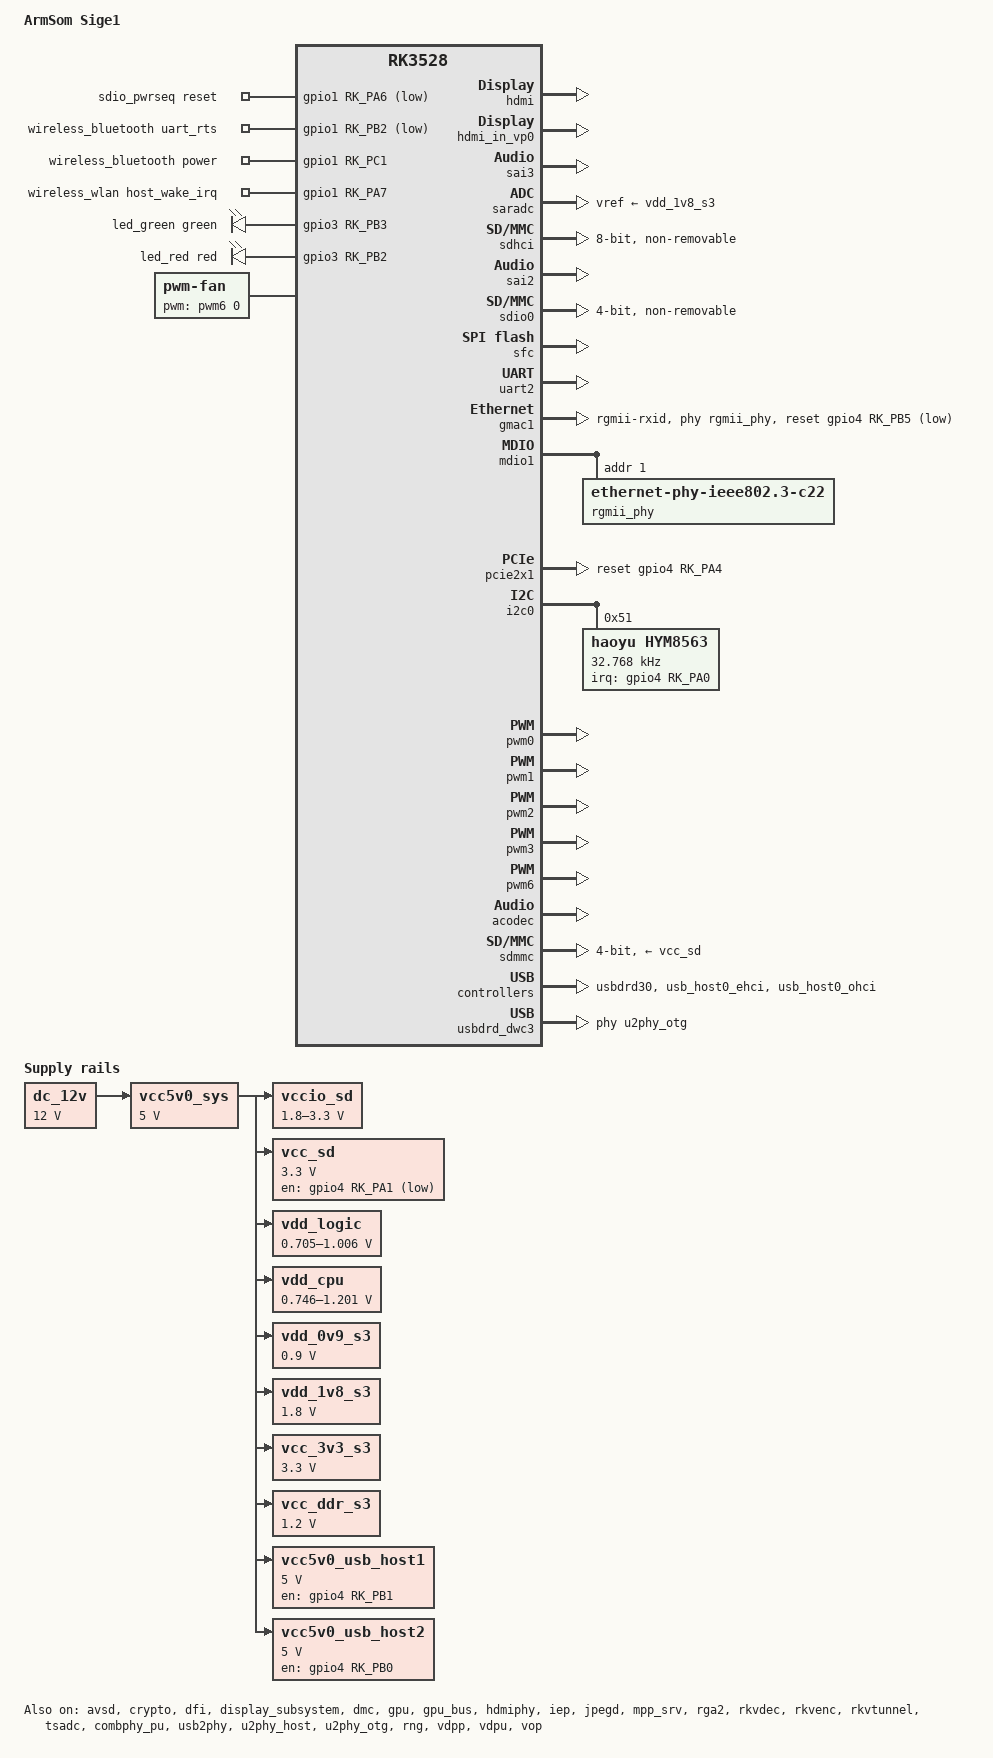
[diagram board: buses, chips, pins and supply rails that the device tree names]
// SPDX-License-Identifier: (GPL-2.0+ OR MIT)
/*
 * Copyright (c) 2022 Rockchip Electronics Co., Ltd.
 *
 */

/dts-v1/;

#include <dt-bindings/gpio/gpio.h>
#include <dt-bindings/leds/common.h>
#include <dt-bindings/input/rk-input.h>
#include <dt-bindings/pinctrl/rockchip.h>
#include "rk3528.dtsi"

/ {
	model = "ArmSom Sige1";
	compatible = "armsom,sige1", "rockchip,rk3528";

	aliases {
		ethernet0 = &gmac1;
		mmc0 = &sdmmc;
		mmc1 = &sdhci;
		mmc2 = &sdio0;
	};

	
	acodec_sound: acodec-sound {
		status = "okay";
		compatible = "simple-audio-card";
		simple-audio-card,name = "rk3528-acodec";
		simple-audio-card,format = "i2s";
		simple-audio-card,mclk-fs = <256>;
		simple-audio-card,cpu {
			sound-dai = <&sai2>;
		};
		simple-audio-card,codec {
			sound-dai = <&acodec>;
		};
	};
	
	fiq-debugger {
		compatible = "rockchip,fiq-debugger";
		rockchip,serial-id = <0>;
		rockchip,wake-irq = <0>;
		/* If enable uart uses irq instead of fiq */
		rockchip,irq-mode-enable = <1>;
		rockchip,baudrate = <1500000>;  /* Only 115200 and 1500000 */
		interrupts = <GIC_SPI 186 IRQ_TYPE_LEVEL_HIGH>;
		pinctrl-names = "default";
		pinctrl-0 = <&uart0m0_xfer>;
		status = "okay";
	};

	firmware {
		optee {
			compatible = "linaro,optee-tz";
			method = "smc";
		};
	};

	dc_12v: dc-12v {
		compatible = "regulator-fixed";
		regulator-name = "dc_12v";
		regulator-always-on;
		regulator-boot-on;
		regulator-min-microvolt = <12000000>;
		regulator-max-microvolt = <12000000>;
	};
	
	vcc5v0_sys: vcc5v0-sys {
		compatible = "regulator-fixed";
		regulator-name = "vcc5v0_sys";
		regulator-always-on;
		regulator-boot-on;
		regulator-min-microvolt = <5000000>;
		regulator-max-microvolt = <5000000>;
		vin-supply = <&dc_12v>;
	};

	/omit-if-no-ref/
	vccio_sd: vccio-sd {
		compatible = "regulator-gpio";
		regulator-name = "vccio_sd";
		regulator-min-microvolt = <1800000>;
		regulator-max-microvolt = <3300000>;
		gpios = <&gpio4 RK_PC2 GPIO_ACTIVE_HIGH>;
		vin-supply = <&vcc5v0_sys>;
		states = <1800000 0x0
			  3300000 0x1>;
	};

	/omit-if-no-ref/
	vcc_sd: vcc-sd {
		compatible = "regulator-fixed";
		gpio = <&gpio4 RK_PA1 GPIO_ACTIVE_LOW>;
		regulator-name = "vcc_sd";
		regulator-min-microvolt = <3300000>;
		regulator-max-microvolt = <3300000>;
		vin-supply = <&vcc5v0_sys>;
	};

	vdd_logic: vdd-logic {
		compatible = "pwm-regulator";
		pwms = <&pwm2 0 5000 1>;
		regulator-name = "vdd_logic";
		regulator-min-microvolt = <705000>;
		regulator-max-microvolt = <1006000>;
		regulator-init-microvolt = <900000>;
		regulator-always-on;
		regulator-boot-on;
		regulator-settling-time-up-us = <250>;
		pwm-supply = <&vcc5v0_sys>;
		status = "okay";
	};

	vdd_cpu: vdd-cpu {
		compatible = "pwm-regulator";
		pwms = <&pwm3 0 5000 1>;
		regulator-name = "vdd_cpu";
		regulator-min-microvolt = <746000>;
		regulator-max-microvolt = <1201000>;
		regulator-init-microvolt = <953000>;
		regulator-always-on;
		regulator-boot-on;
		regulator-settling-time-up-us = <250>;
		pwm-supply = <&vcc5v0_sys>;
		status = "okay";
	};

	vdd_0v9_s3: vdd-0v9-s3 {
		compatible = "regulator-fixed";
		regulator-name = "vdd_0v9_s3";
		regulator-always-on;
		regulator-boot-on;
		regulator-min-microvolt = <900000>;
		regulator-max-microvolt = <900000>;
		vin-supply = <&vcc5v0_sys>;
	};

	vdd_1v8_s3: vdd-1v8-s3 {
		compatible = "regulator-fixed";
		regulator-name = "vdd_1v8_s3";
		regulator-always-on;
		regulator-boot-on;
		regulator-min-microvolt = <1800000>;
		regulator-max-microvolt = <1800000>;
		vin-supply = <&vcc5v0_sys>;
	};

	vcc_3v3_s3: vcc-3v3-s3 {
		compatible = "regulator-fixed";
		regulator-name = "vcc_3v3_s3";
		regulator-always-on;
		regulator-boot-on;
		regulator-min-microvolt = <3300000>;
		regulator-max-microvolt = <3300000>;
		vin-supply = <&vcc5v0_sys>;
	};

	vcc_ddr_s3: vcc-ddr-s3 {
		compatible = "regulator-fixed";
		regulator-name = "vcc_ddr_s3";
		regulator-always-on;
		regulator-boot-on;
		regulator-min-microvolt = <1200000>;
		regulator-max-microvolt = <1200000>;
		vin-supply = <&vcc5v0_sys>;
	};

	hdmi_sound: hdmi-sound {
		compatible = "rockchip,hdmi";
		rockchip,mclk-fs = <128>;
		rockchip,card-name = "rockchip,hdmi";
		rockchip,cpu = <&sai3>;
		rockchip,codec = <&hdmi>;
		rockchip,jack-det;
	};

	pdmics: dummy-codec {
		status = "disabled";
		compatible = "rockchip,dummy-codec";
		#sound-dai-cells = <0>;
	};

	pdm_mic_array: pdm-mic-array {
		status = "disabled";
		compatible = "simple-audio-card";
		simple-audio-card,name = "rockchip,pdm-mic-array";
		simple-audio-card,cpu {
			sound-dai = <&pdm>;
		};
		simple-audio-card,codec {
			sound-dai = <&pdmics>;
		};
	};

	reserved_memory: reserved-memory {
		#address-cells = <2>;
		#size-cells = <2>;
		ranges;

		drm_logo: drm-logo@00000000 {
			compatible = "rockchip,drm-logo";
			reg = <0x0 0x0 0x0 0x0>;
		};

		drm_cubic_lut: drm-cubic-lut@00000000 {
			compatible = "rockchip,drm-cubic-lut";
			reg = <0x0 0x0 0x0 0x0>;
		};

		ramoops: ramoops@110000 {
			compatible = "ramoops";
			/* 0x110000 to 0x1f0000 is for ramoops */
			reg = <0x0 0x110000 0x0 0xe0000>;
			boot-log-size = <0x8000>;	/* do not change */
			boot-log-count = <0x1>;		/* do not change */
			console-size = <0x80000>;
			pmsg-size = <0x30000>;
			ftrace-size = <0x00000>;
			record-size = <0x14000>;
		};
	};
	
	vcc5v0_usb_host1: vcc5v0-usb-host1 {
		compatible = "regulator-fixed";
		regulator-name = "vcc5v0_usb_host1";
		regulator-boot-on;
		regulator-always-on;
		regulator-min-microvolt = <5000000>;
		regulator-max-microvolt = <5000000>;
		enable-active-high;
		gpio = <&gpio4 RK_PB1 GPIO_ACTIVE_HIGH>;
		vin-supply = <&vcc5v0_sys>;
		pinctrl-names = "default";
		pinctrl-0 = <&usb_host1_pwren>;
	};

	vcc5v0_usb_host2: vcc5v0-usb-host2 {
		compatible = "regulator-fixed";
		regulator-name = "vcc5v0_usb_host2";
		regulator-boot-on;
		regulator-always-on;
		regulator-min-microvolt = <5000000>;
		regulator-max-microvolt = <5000000>;
		enable-active-high;
		gpio = <&gpio4 RK_PB0 GPIO_ACTIVE_HIGH>;
		vin-supply = <&vcc5v0_sys>;
		pinctrl-names = "default";
		pinctrl-0 = <&usb_host2_pwren>;
	};

	sdio_pwrseq: sdio-pwrseq {
		compatible = "mmc-pwrseq-simple";
		pinctrl-names = "default";
		pinctrl-0 = <&wifi_enable_h &clkm0_32k_out>;
		reset-gpios = <&gpio1 RK_PA6 GPIO_ACTIVE_LOW>;
	};

	wireless_bluetooth: wireless-bluetooth {
		compatible = "bluetooth-platdata";
		//wifi-bt-power-toggle;
		uart_rts_gpios = <&gpio1 RK_PB2 GPIO_ACTIVE_LOW>;
		pinctrl-names = "default", "rts_gpio";
		pinctrl-0 = <&uart2m1_rtsn>;
		pinctrl-1 = <&uart2m1_rts_gpio>;
		BT,power_gpio = <&gpio1 RK_PC1 GPIO_ACTIVE_HIGH>;
		//BT,reset_gpio    = <&gpio3 RK_PC2 GPIO_ACTIVE_HIGH>;
		//BT,wake_host_irq = <&gpio3 RK_PC1 GPIO_ACTIVE_HIGH>;
		status = "okay";
	};

	wireless_wlan: wireless-wlan {
		compatible = "wlan-platdata";
		rockchip,grf = <&grf>;
		wifi_chip_type = "rtl8852bs";
		pinctrl-names = "default";
		pinctrl-0 = <&wifi_host_wake_irq>;
		WIFI,host_wake_irq = <&gpio1 RK_PA7 GPIO_ACTIVE_HIGH>;
		status = "okay";
	};

	leds {
		compatible = "gpio-leds";

		led_green: led-0 {
			color = <LED_COLOR_ID_GREEN>;
			function = LED_FUNCTION_STATUS;
			linux,default-trigger = "heartbeat";
			gpios = <&gpio3 RK_PB3 GPIO_ACTIVE_HIGH>;
		};

		led_red: led-1 {
			color = <LED_COLOR_ID_RED>;
			function = LED_FUNCTION_STATUS;
			gpios = <&gpio3 RK_PB2 GPIO_ACTIVE_HIGH>;
			linux,default-trigger = "none";
		};
	};

	fan: pwm-fan {
		compatible = "pwm-fan";
		#cooling-cells = <2>;
		pwms = <&pwm6 0 50000 0>;
		cooling-levels = <0 50 100 150 200 255>;
		rockchip,temp-trips = <
			50000	1
			55000	2
			60000	3
			65000	4
			70000	5
		>;
	};
};

&avsd {
	status = "okay";
};

&cpu0 {
	cpu-supply = <&vdd_cpu>;
};

&crypto {
	status = "okay";
};

&dfi {
	status = "okay";
};

&display_subsystem {
	status = "okay";
};

&dmc {
	center-supply = <&vdd_logic>;
	status = "okay";
};

&gpu {
	mali-supply = <&vdd_logic>;
	status = "okay";
};

&gpu_bus {
	bus-supply = <&vdd_logic>;
	status = "okay";
};

&hdmi {
	status = "okay";
};

&hdmi_in_vp0 {
	status = "okay";
};

&hdmiphy {
	status = "okay";
};

&iep {
	status = "okay";
};

&iep_mmu {
	status = "okay";
};

&jpegd {
	status = "okay";
};

&jpegd_mmu {
	status = "okay";
};

&mpp_srv {
	status = "okay";
};

&rga2 {
	status = "okay";
};

&rga2_mmu {
	status = "okay";
};

&rkvdec {
	status = "okay";
};

&rkvdec_mmu {
	status = "okay";
};

&rkvenc {
	status = "okay";
};

&rkvenc_mmu {
	status = "okay";
};

&rkvtunnel {
	status = "okay";
};

&rockchip_suspend {
	// status = "okay";
	// rockchip,sleep-debug-en = <1>;
	// rockchip,virtual-poweroff = <1>;
	// rockchip,sleep-mode-config = <
	// 	(0
	// 	| RKPM_SLP_ARMPD
	// 	)
	// >;
	// rockchip,wakeup-config = <
	// 	(0
	// 	| RKPM_CPU0_WKUP_EN
	// 	| RKPM_GPIO_WKUP_EN
	// 	)
	// >;
	// rockchip,pwm-regulator-config = <
	// 	(0
	// 	| RKPM_PWM0_M0_REGULATOR_EN
	// 	| RKPM_PWM1_M0_REGULATOR_EN
	// 	)
	// >;
};

&sai3 {
	status = "okay";
};

&saradc {
	status = "okay";
	vref-supply = <&vdd_1v8_s3>;
};

&sdhci {
	bus-width = <8>;
	no-sd;
	no-sdio;
	non-removable;
	mmc-hs400-1_8v;
	mmc-hs400-enhanced-strobe;
	max-frequency = <200000000>;
	status = "okay";
};

&sai2 {
	status = "okay";
};

&sdio0 {
	max-frequency = <200000000>;
	no-sd;
	no-mmc;
	supports-sdio;
	bus-width = <4>;
	disable-wp;
	cap-sd-highspeed;
	cap-sdio-irq;
	keep-power-in-suspend;
	non-removable;
	mmc-pwrseq = <&sdio_pwrseq>;
	pinctrl-names = "default";
	pinctrl-0 = <&sdio0_bus4 &sdio0_cmd &sdio0_clk>;
	sd-uhs-sdr104;
	status = "okay";
};

&sfc {
	status = "okay";
};

&spdif_8ch {
	status = "disabled";
};

&tsadc {
	status = "okay";
};

&tve {
	status = "disabled";
};

&tve_in_vp1 {
	status = "disabled";
};


&uart2 {
	status = "okay";
	pinctrl-names = "default";
	pinctrl-0 = <&uart2m1_xfer &uart2m1_ctsn>;
};

&gmac1 {
	/* Use rgmii-rxid mode to disable rx delay inside Soc */
	phy-mode = "rgmii-rxid";
	clock_in_out = "output";

	snps,reset-gpio = <&gpio4 RK_PB5 GPIO_ACTIVE_LOW>;
	snps,reset-active-low;
	/* Reset time is 20ms, 100ms for rtl8211f */
	snps,reset-delays-us = <0 20000 100000>;

	tx_delay = <0x30>;
	/* rx_delay = <0x3f>; */

	pinctrl-names = "default";
	pinctrl-0 = <&rgmii_miim
		     &rgmii_tx_bus2
		     &rgmii_rx_bus2
		     &rgmii_rgmii_clk
		     &rgmii_rgmii_bus
		     &eth_pins>;

	phy-handle = <&rgmii_phy>;
	status = "okay";
};


&mdio1 {
	rgmii_phy: phy@1 {
		compatible = "ethernet-phy-ieee802.3-c22";
		reg = <0x1>;
	};
};

&combphy_pu {
	status = "okay";
};

&pcie2x1 {
	reset-gpios = <&gpio4 RK_PA4 GPIO_ACTIVE_HIGH>;
	status = "okay";
};


&i2c0 {
	status = "okay";
	hym8563: hym8563@51 {
		compatible = "haoyu,hym8563";
		reg = <0x51>;
		#clock-cells = <0>;
		clock-frequency = <32768>;
		clock-output-names = "hym8563";
		pinctrl-names = "default";
		pinctrl-0 = <&hym8563_int>;
		interrupt-parent = <&gpio4>;
		interrupts = <RK_PA0 IRQ_TYPE_LEVEL_LOW>;
	};
};


&pinctrl {
	sdio-pwrseq {
		wifi_enable_h: wifi-enable-h {
			rockchip,pins = <1 RK_PA6 RK_FUNC_GPIO &pcfg_pull_none>;
		};
	};

	wireless-wlan {
		wifi_host_wake_irq: wifi-host-wake-irq {
			rockchip,pins = <1 RK_PA7 RK_FUNC_GPIO &pcfg_pull_down>;
		};
	};

	wireless-bluetooth {
		uart2m1_rts_gpio: uart2m1-rts-gpio {
			rockchip,pins = <1 RK_PB2 RK_FUNC_GPIO &pcfg_pull_none>;
		};
	};
	hym8563 {
		hym8563_int: hym8563-int {
			rockchip,pins = <4 RK_PA0 RK_FUNC_GPIO &pcfg_pull_none>;
		};
	};
	usb {
		usb_host1_pwren: usb-host1-pwren {
			rockchip,pins = <4 RK_PB1 RK_FUNC_GPIO &pcfg_pull_none>;
		};

		usb_host2_pwren: usb-host2-pwren {
			rockchip,pins = <4 RK_PB0 RK_FUNC_GPIO &pcfg_pull_none>;
		};
	};

	leds {
		led_rgb_r: led-red-en {
			rockchip,pins = <3 RK_PB2 RK_FUNC_GPIO &pcfg_pull_none>;
		};
		led_rgb_g: led-green-en {
			rockchip,pins = <3 RK_PB3 RK_FUNC_GPIO &pcfg_pull_none>;
		};
	};
};

&pwm0 {
	status = "okay";
};

&pwm1 {
	status = "okay";
};

&pwm2 {
	status = "okay";
};

&pwm3 {
	status = "okay";
};

&pwm6 {
	status = "okay";
	pinctrl-0 = <&pwm6m2_pins>;
};

&acodec {
	status = "okay";
};

&sdmmc {
	bus-width = <4>;
	cap-mmc-highspeed;
	cap-sd-highspeed;
	disable-wp;
	max-frequency = <150000000>;
	pinctrl-names = "default";
	pinctrl-0 = <&sdmmc_clk &sdmmc_cmd &sdmmc_det &sdmmc_bus4>;
	rockchip,default-sample-phase = <90>;
	supports-sd;
	sd-uhs-sdr12;
	sd-uhs-sdr25;
	sd-uhs-sdr50;
	sd-uhs-sdr104;
	vqmmc-supply = <&vccio_sd>;
	vmmc-supply = <&vcc_sd>;
	status = "okay";
};

&usb2phy {
	status = "okay";
};

&u2phy_host {
	status = "okay";
	phy-supply = <&vcc5v0_sys>;
};

&u2phy_otg {
	status = "okay";
	vbus-supply = <&vcc5v0_sys>;
};

&usbdrd30 {
	status = "okay";
};

&usbdrd_dwc3 {
	// Only USB2.0 START
	extcon = <&usb2phy>;
	phys = <&u2phy_otg>;
	phy-names = "usb2-phy";
	maximum-speed = "high-speed";
	snps,dis_u2_susphy_quirk;
	// Only USB2.0 END
	snps,usb2-lpm-disable;
	status = "okay";
};

&usb_host0_ehci {
	status = "okay";
};

&usb_host0_ohci {
	status = "okay";
};

&display_subsystem {
	memory-region = <&drm_logo>, <&drm_cubic_lut>;
	memory-region-names = "drm-logo", "drm-cubic-lut";
	/* devfreq = <&dmc>; */

	route {
		route_hdmi: route-hdmi {
			status = "okay";
			logo,uboot = "logo.bmp";
			logo,kernel = "logo_kernel.bmp";
			logo,mode = "center";
			charge_logo,mode = "center";
			connect = <&vp0_out_hdmi>;
		};
		route_tve: route-tve {
			status = "okay";
			logo,uboot = "logo.bmp";
			logo,kernel = "logo_kernel.bmp";
			logo,mode = "center";
			charge_logo,mode = "center";
			connect = <&vp1_out_tve>;
		};
	};
};

&rng {
	status = "okay";
};

&vdpp {
	status = "okay";
};

&vdpu {
	status = "okay";
};

&vdpu_mmu {
	status = "okay";
};

&vop {
	status = "okay";
};

&vop_mmu {
	status = "okay";
};
